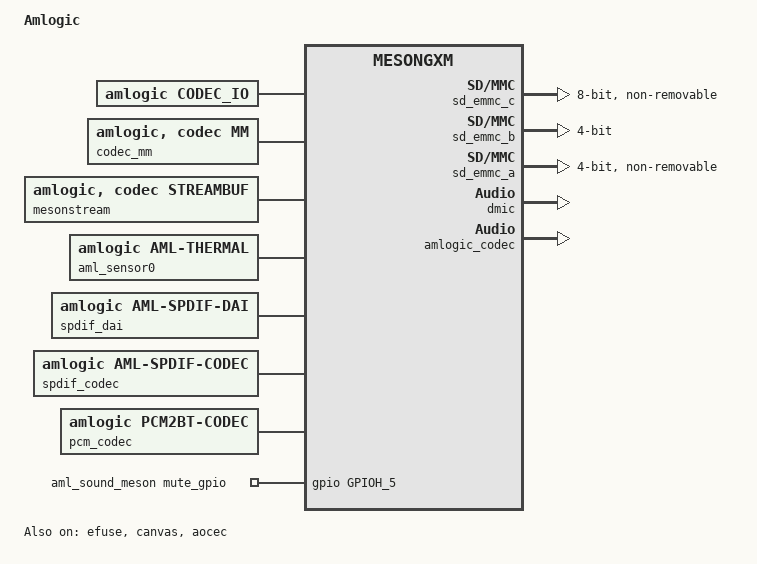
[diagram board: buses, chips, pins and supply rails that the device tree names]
/*
 * arch/arm/boot/dts/amlogic/gxm_skt.dts
 *
 * Copyright (C) 2017 Amlogic, Inc. All rights reserved.
 *
 * This program is free software; you can redistribute it and/or modify
 * it under the terms of the GNU General Public License as published by
 * the Free Software Foundation; either version 2 of the License, or
 * (at your option) any later version.
 *
 * This program is distributed in the hope that it will be useful, but WITHOUT
 * ANY WARRANTY; without even the implied warranty of MERCHANTABILITY or
 * FITNESS FOR A PARTICULAR PURPOSE.  See the GNU General Public License for
 * more details.
 *
 */

/dts-v1/;

#include <dt-bindings/interrupt-controller/arm-gic.h>
#include "mesongxm.dtsi"

/ {
	model = "Amlogic";
	compatible = "amlogic, Gxm";
	interrupt-parent = <&gic>;
	#address-cells = <1>;
	#size-cells = <1>;

	aliases {
		serial0 = &uart_AO;
		serial1 = &uart_A;
		serial2 = &uart_B;
		serial3 = &uart_C;
		serial4 = &uart_AO_B;
	};

	ion_dev {
		compatible = "amlogic, ion_dev";
		memory-region = <&ion_reserved>;
	};

	memory@00000000 {
		device_type = "memory";
		linux,usable-memory = <0x100000 0x3ff00000>;
	};

	reserved-memory {
		#address-cells = <1>;
		#size-cells = <1>;
		ranges;
		/* global autoconfigured region for contiguous allocations */
		ramoops@0x07400000 {
			compatible = "ramoops";
			reg = <0x07400000 0x00100000>;
			record-size = <0x8000>;
			console-size = <0x8000>;
			ftrace-size = <0x20000>;
		};

		secmon_reserved:linux,secmon {
			compatible = "shared-dma-pool";
			reusable;
			size = <0x400000>;
			alignment = <0x400000>;
			alloc-ranges = <0x05000000 0x400000>;
		};
		secos_reserved:linux,secos {
			status = "disable";
			compatible = "amlogic, aml_secos_memory";
			reg = <0x05300000 0x2000000>;
			no-map;
		};
		logo_reserved:linux,meson-fb {
			compatible = "shared-dma-pool";
			reusable;
			size = <0x800000>;
			alignment = <0x400000>;
			alloc-ranges = <0x3f800000 0x800000>;
		};
		//don't put other dts in front of logo_reserved

		//di_reserved:linux,di {
		//	compatible = "amlogic, di-mem";
			/** 10x3133440=30M(0x1e) support 8bit **/
		//	size = <0x1e00000>;
			//no-map;
		//};
		di_cma_reserved:linux,di_cma {
			compatible = "shared-dma-pool";
			reusable;
			/** 10x3133440=30M(0x1e) support 8bit **/
			size = <0x2000000>;
			alignment = <0x400000>;
		};
		ion_reserved:linux,ion-dev {
			compatible = "shared-dma-pool";
			reusable;
			size = <0x7C00000>;
			alignment = <0x400000>;
		};

		/*  vdin0 CMA pool */
		//vdin0_cma_reserved:linux,vdin0_cma {
		//	compatible = "shared-dma-pool";
		//	linux,phandle = <4>;
		//	reusable;
		/* 1920x1080x2x4  =16+4 M */
		//	size = <0x01400000>;
		//	alignment = <0x400000>;
		//};
		/*  vdin1 CMA pool */
		vdin1_cma_reserved:linux,vdin1_cma {
			compatible = "shared-dma-pool";
			reusable;
			/* 1920x1080x2x4  =16 M */
			size = <0x01000000>;
			alignment = <0x400000>;
		};
		/*  POST PROCESS MANAGER */
		ppmgr_reserved:linux,ppmgr {
			compatible = "shared-dma-pool";
			size = <0x0>;
		};

		codec_mm_cma:linux,codec_mm_cma {
			compatible = "shared-dma-pool";
			reusable;
			/* ion_codec_mm max can alloc size 80M*/
			size = <0x13400000>;
			alignment = <0x400000>;
			linux,contiguous-region;
		};
		picdec_cma_reserved:linux,picdec {
			compatible = "shared-dma-pool";
			reusable;
			size = <0x0>;
			alignment = <0x0>;
			linux,contiguous-region;
		};
		/* codec shared reserved */
		codec_mm_reserved:linux,codec_mm_reserved {
			compatible = "amlogic, codec-mm-reserved";
			size = <0x0>;
			alignment = <0x100000>;
			//no-map;
		};
	};

	sd_emmc_c: emmc@d0074000 {
		status = "okay";
		compatible = "amlogic, meson-mmc-gxm";
		reg = <0xd0074000 0x2000>;
		interrupts = <0 218 1>;
		pinctrl-names = "emmc_clk_cmd_pins", "emmc_all_pins";
		pinctrl-0 = <&emmc_clk_cmd_pins>;
		pinctrl-1 = <&emmc_conf_pull_up &emmc_conf_pull_done>;
		clocks = <&clkc CLKID_SD_EMMC_C>,
			   <&clkc CLKID_SD_EMMC_C_P0_COMP>,
			   <&clkc CLKID_FCLK_DIV2>;
		clock-names = "core", "clkin0", "clkin1";

		bus-width = <8>;
		cap-sd-highspeed;
		cap-mmc-highspeed;
		mmc-ddr-1_8v;
		mmc-hs200-1_8v;

		max-frequency = <200000000>;
		non-removable;
		disable-wp;
		emmc {
			pinname = "emmc";
			ocr_avail = <0x200080>; /**VDD voltage 3.3 ~ 3.4 */
			caps = "MMC_CAP_8_BIT_DATA",
				 "MMC_CAP_MMC_HIGHSPEED",
				 "MMC_CAP_SD_HIGHSPEED",
				 "MMC_CAP_NONREMOVABLE",
				 "MMC_CAP_1_8V_DDR",
				 "MMC_CAP_HW_RESET",
				 "MMC_CAP_ERASE",
				 "MMC_CAP_CMD23";
			caps2 = "MMC_CAP2_HS200", "MMC_CAP2_HS400";
			f_min = <400000>;
			f_max = <100000000>;
			max_req_size = <0x20000>; /**128KB*/
			gpio_dat3 = <&gpio BOOT_3 GPIO_ACTIVE_HIGH>;
			hw_reset = <&gpio BOOT_9 GPIO_ACTIVE_HIGH>;
			card_type = <1>;
			/* 1:mmc card(include eMMC),
			 * 2:sd card(include tSD)
			 */
		};
	};

	sd_emmc_b:sd@d0072000 {
		status = "okay";
		compatible = "amlogic, meson-mmc-gxm";
		reg = <0xd0072000 0x2000>;
		interrupts = <0 217 1>;
		pinctrl-names = "sd_all_pins",
			"sd_clk_cmd_pins",
			"sd_1bit_pins",
			"sd_clk_cmd_uart_pins",
			"sd_1bit_uart_pins",
			"sd_to_ao_uart_pins",
			"ao_to_sd_uart_pins",
			"ao_to_sd_jtag_pins",
			"sd_to_ao_jtag_pins";
		pinctrl-0 = <&sd_all_pins>;
		pinctrl-1 = <&sd_clk_cmd_pins>;
		pinctrl-2 = <&sd_1bit_pins>;
		pinctrl-3 = <&sd_to_ao_uart_clr_pins
			&sd_clk_cmd_pins &ao_to_sd_uart_pins>;
		pinctrl-4 = <&sd_to_ao_uart_clr_pins
			&sd_1bit_pins &ao_to_sd_uart_pins>;
		pinctrl-5 = <&sd_all_pins &sd_to_ao_uart_pins>;
		pinctrl-6 = <&sd_to_ao_uart_clr_pins &ao_to_sd_uart_pins>;
		pinctrl-7 = <&sd_to_ao_uart_clr_pins &ao_to_sd_uart_pins>;
		pinctrl-8 = <&sd_all_pins &sd_to_ao_uart_pins>;
		clocks = <&clkc CLKID_SD_EMMC_B>,
			   <&clkc CLKID_SD_EMMC_B_P0_COMP>,
			   <&clkc CLKID_FCLK_DIV2>;
		clock-names = "core", "clkin0", "clkin1";

		bus-width = <4>;
		cap-sd-highspeed;
		max-frequency = <100000000>;
		disable-wp;
		sd {
			pinname = "sd";
			ocr_avail = <0x200080>; /**VDD voltage 3.3 ~ 3.4 */
			caps = "MMC_CAP_4_BIT_DATA",
				 "MMC_CAP_MMC_HIGHSPEED",
				 "MMC_CAP_SD_HIGHSPEED";
			/* "MMC_CAP_UHS_SDR12",
			 * "MMC_CAP_UHS_SDR25",
			 * "MMC_CAP_UHS_SDR50",
			 * "MMC_CAP_UHS_SDR104";
			 */
			f_min = <400000>;
			f_max = <100000000>;
			max_req_size = <0x20000>; /**128KB*/
			gpio_dat3 = <&gpio CARD_4 GPIO_ACTIVE_HIGH>;
			jtag_pin = <&gpio CARD_0 GPIO_ACTIVE_HIGH>;
			gpio_cd = <&gpio CARD_6 GPIO_ACTIVE_HIGH>;
			card_type = <5>;
			/* 0:unknown,
			 * 1:mmc card(include eMMC),
			 * 2:sd card(include tSD),
			 * 3:sdio device(ie:sdio-wifi),
			 * 4:SD combo (IO+mem) card,
			 * 5:NON sdio device(means sd/mmc card),
			 * other:reserved
			 */
		};
	};

	sd_emmc_a:sdio@d0070000 {
		status = "okay";
		compatible = "amlogic, meson-mmc-gxm";
		reg = <0xd0070000 0x2000>;
		interrupts = <0 216 4>;
		pinctrl-names = "sdio_clk_cmd_pins", "sdio_all_pins";
		pinctrl-0 = <&sdio_clk_cmd_pins>;
		pinctrl-1 = <&sdio_all_pins>;
		clocks = <&clkc CLKID_SD_EMMC_A>,
			   <&clkc CLKID_SD_EMMC_A_P0_COMP>,
			   <&clkc CLKID_FCLK_DIV2>;
		clock-names = "core", "clkin0", "clkin1";

		bus-width = <4>;
		cap-sd-highspeed;
		cap-mmc-highspeed;
		max-frequency = <100000000>;
		non-removable;
		disable-wp;
		sdio {
			pinname = "sdio";
			ocr_avail = <0x200080>; /**VDD voltage 3.3 ~ 3.4 */
			caps = "MMC_CAP_4_BIT_DATA",
				 "MMC_CAP_MMC_HIGHSPEED",
				 "MMC_CAP_SD_HIGHSPEED",
				 "MMC_CAP_NONREMOVABLE",
				 "MMC_CAP_UHS_SDR12",
				 "MMC_CAP_UHS_SDR25",
				 "MMC_CAP_UHS_SDR50",
				 "MMC_CAP_UHS_SDR104",
				 "MMC_PM_KEEP_POWER",
				 "MMC_CAP_SDIO_IRQ";
			f_min = <400000>;
			f_max = <200000000>;
			max_req_size = <0x20000>; /**128KB*/
			card_type = <3>;
			/* 3:sdio device(ie:sdio-wifi),
			 * 4:SD combo (IO+mem) card
			 */
		};
	};
	mtd_nand{
		compatible = "amlogic, aml_mtd_nand";
		dev_name = "mtdnand";
		status = "disabled";
		reg = <0xd0074800 0x200>;
		interrupts = <	0 34 1 >;
		pinctrl-names = "nand_rb_mod","nand_norb_mod", "nand_cs_only";
		pinctrl-0 = <&all_nand_pins>;
		pinctrl-1 = <&all_nand_pins>;
		pinctrl-2 = <&nand_cs_pins>;
		device_id = <0>;
		plat-names = "bootloader","nandnormal";
		plat-num = <2>;
		plat-part-0 = <&bootloader>;
		plat-part-1 = <&nandnormal>;
		bootloader: bootloader{
			enable_pad ="ce0";
			busy_pad = "rb0";
			timming_mode = "mode5";
			bch_mode = "bch60_1k";
			t_rea = <20>;
			t_rhoh = <15>;
			chip_num = <1>;
			part_num = <0>;
			rb_detect = <1>;
		};
		nandnormal: nandnormal{
			enable_pad ="ce0","ce1";
			busy_pad = "rb0","rb1";
			timming_mode = "mode5";
			bch_mode = "bch60_1k";
			plane_mode = "twoplane";
			t_rea = <20>;
			t_rhoh = <15>;
			chip_num = <2>;
			part_num = <3>;
			partition = <&nand_partitions>;
			rb_detect = <1>;
		};
		nand_partitions:nand_partition{
			logo{
				offset=<0x0 0x0>;
				size=<0x0 0x200000>;
			};
			recovery{
				offset=<0x0 0x0>;
				size=<0x0 0x1000000>;
			};
			boot{
				offset=<0x0 0x0>;
				size=<0x0 0xC00000>;
			};
			system{
				offset=<0x0 0x0>;
				size=<0x0 0xDC40000>;
			};
			data{
				offset=<0xffffffff 0xffffffff>;
				size=<0x0 0x0>;
			};
		};
	};

	codec_io {
		compatible = "amlogic, codec_io";
		#address-cells=<1>;
		#size-cells=<1>;
		ranges;
		io_cbus_base{
			reg = <0xC1100000 0x100000>;
		};
		io_dos_base{
			reg = <0xc8820000 0x10000>;
		};
		io_hiubus_base{
			reg = <0xc883c000 0x2000>;
		};
		io_aobus_base{
			reg = <0xc8100000 0x100000>;
		};
		io_vcbus_base{
			reg = <0xd0100000 0x40000>;
		};
		io_dmc_base{
			reg = <0xc8838000 0x400>;
		};
	};

	codec_mm {
		compatible = "amlogic, codec, mm";
		memory-region = <&codec_mm_cma &codec_mm_reserved>;
		dev_name = "codec_mm";
		status = "okay";
	};

	canvas{
		compatible = "amlogic, meson, canvas";
		dev_name = "amlogic-canvas";
		status = "ok";
		reg = <0xc8838000 0x400>;
	};

	mesonstream {
		compatible = "amlogic, codec, streambuf";
		dev_name = "mesonstream";
		status = "okay";
		clocks = <&clkc CLKID_DOS_PARSER
			&clkc CLKID_DEMUX
			&clkc CLKID_DOS
			&clkc CLKID_VDEC_MUX
			&clkc CLKID_HCODEC_MUX
			&clkc CLKID_HEVC_MUX>;
		clock-names = "parser_top",
			"demux",
			"vdec",
			"clk_vdec_mux",
			"clk_hcodec_mux",
			"clk_hevc_mux";
	};

	vdec {
		compatible = "amlogic, vdec";
		dev_name = "vdec.0";
		status = "okay";
		interrupts = <0 3 1
			0 23 1
			0 32 1
			0 43 1
			0 44 1
			0 45 1>;
		interrupt-names = "vsync",
			"demux",
			"parser",
			"mailbox_0",
			"mailbox_1",
			"mailbox_2";
	};

	aml_sensor0: aml-sensor@0 {
		compatible = "amlogic, aml-thermal";
		device_name = "thermal";
		#thermal-sensor-cells = <1>;
		cooling_devices {
			cpufreq_cool_cluster0 {
				min_state = <1000000>;
				dyn_coeff = <140>;
				cluster_id = <0>;
				node_name = "cpufreq_cool0";
				device_type = "cpufreq";
			};
			cpufreq_cool_cluster1 {
				min_state = <500000>;
				dyn_coeff = <140>;
				cluster_id = <1>;
				node_name = "cpufreq_cool1";
				device_type = "cpufreq";
			};
			cpucore_cool_cluster0 {
				min_state = <1>;
				dyn_coeff = <0>;
				cluster_id = <0>;
				node_name = "cpucore_cool0";
				device_type = "cpucore";
			};
			cpucore_cool_cluster1 {
				min_state = <1>;
				dyn_coeff = <0>;
				cluster_id = <1>;
				node_name = "cpucore_cool1";
				device_type = "cpucore";
			};
			gpufreq_cool {
				min_state = <400>;
				dyn_coeff = <437>;
				cluster_id = <0>;
				node_name = "gpufreq_cool0";
				device_type = "gpufreq";
			};
			gpucore_cool {
				min_state = <1>;
				dyn_coeff = <0>;
				cluster_id = <0>;
				node_name = "gpucore_cool0";
				device_type = "gpucore";
			};
		};
		cpufreq_cool0:cpufreq_cool0 {
			#cooling-cells = <2>; /* min followed by max */
		};
		cpufreq_cool1:cpufreq_cool1 {
			#cooling-cells = <2>; /* min followed by max */
		};
		cpucore_cool0:cpucore_cool0 {
			#cooling-cells = <2>; /* min followed by max */
		};
		cpucore_cool1:cpucore_cool1 {
			#cooling-cells = <2>; /* min followed by max */
		};
		gpufreq_cool0:gpufreq_cool0 {
			#cooling-cells = <2>; /* min followed by max */
		};
		gpucore_cool0:gpucore_cool0 {
			#cooling-cells = <2>; /* min followed by max */
		};
	};
	thermal-zones {
		soc_thermal {
			polling-delay = <1000>;
			polling-delay-passive = <100>;
			sustainable-power = <2450>;

			thermal-sensors = <&aml_sensor0 3>;

			trips {
				switch_on: trip-point@0 {
					temperature = <70000>;
					hysteresis = <1000>;
					type = "passive";
				};
				control: trip-point@1 {
					temperature = <80000>;
					hysteresis = <1000>;
					type = "passive";
				};
				hot: trip-point@2 {
					temperature = <85000>;
					hysteresis = <5000>;
					type = "hot";
				};
				critical: trip-point@3 {
					temperature = <260000>;
					hysteresis = <1000>;
					type = "critical";
				};
			};

			cooling-maps {
				cpufreq_cooling_map0 {
					trip = <&control>;
					cooling-device = <&cpufreq_cool0 0 4>;
					contribution = <1024>;
				};
				cpufreq_cooling_map1 {
					trip = <&control>;
					cooling-device = <&cpufreq_cool1 0 4>;
					contribution = <1024>;
				};
				cpucore_cooling_map0 {
					trip = <&control>;
					cooling-device = <&cpucore_cool0 0 3>;
					contribution = <1024>;
				};
				cpucore_cooling_map1 {
					trip = <&control>;
					cooling-device = <&cpucore_cool1 0 3>;
					contribution = <1024>;
				};
				gpufreq_cooling_map {
					trip = <&control>;
					cooling-device = <&gpufreq_cool0 0 4>;
					contribution = <1024>;
				};
				gpucore_cooling_map {
					trip = <&control>;
					cooling-device = <&gpucore_cool0 0 2>;
					contribution = <1024>;
				};
			};
		};
	};

	meson-amvideom {
		compatible = "amlogic, amvideom";
		dev_name = "amvideom";
		status = "okay";
		interrupts = <0 3 1>;
		interrupt-names = "vsync";
	};

	vout {
		compatible = "amlogic, vout";
		dev_name = "vout";
		status = "okay";
		fr_auto_policy = <0>;
	};

	cvbsout {
		compatible = "amlogic, cvbsout-gxm";
		dev_name = "cvbsout";
		status = "okay";
		clocks = <&clkc CLKID_VCLK2_ENCI
			&clkc CLKID_VCLK2_VENCI0
			&clkc CLKID_VCLK2_VENCI1
			&clkc CLKID_DAC_CLK>;
		clock-names = "venci_top_gate",
			"venci_0_gate",
			"venci_1_gate",
			"vdac_clk_gate";

		/* performance: reg_address, reg_value */
		performance = <0x1bf0  0x9
			0x1b56  0x343
			0x1b12  0x8080
			0x1b05  0xfd
			0x1c59  0xf752
			0xffff  0x0>; /* ending flag */
	};

	amhdmitx: amhdmitx{
		compatible = "amlogic, amhdmitx";
		dev_name = "amhdmitx";
		status = "okay";
		vend-data = <&vend_data>;
		pinctrl-names="hdmitx_hpd", "hdmitx_ddc";
		pinctrl-0=<&hdmitx_hpd>;
		pinctrl-1=<&hdmitx_ddc>;
		/* HPD, 57 + 32 = 89; CEC, 151 + 32 = 183*/
		interrupts = <0 57 1>;
		interrupt-names = "hdmitx_hpd";
		vend_data: vend_data{ /* Should modified by Customer */
			vendor_name = "Amlogic"; /* Max Chars: 8 */
			/* standards.ieee.org/develop/regauth/oui/oui.txt */
			vendor_id = <0x000000>;
			product_desc = "MBox Meson Ref"; /* Max Chars: 16 */
		};
	};

	aocec: aocec{
		compatible = "amlogic, amlogic-aocec";
		device_name = "aocec";
		status = "okay";
		vendor_id = <0x000000>;
		cec_osd_string = "MBox"; /* Max Chars: 14    */
		cec_version = <6>; /* 5: 1.4, 6: 2.0 */
		port_num = <1>;
		arc_port_mask = <0x0>;
		interrupts = <0 199 1>;
		interrupt-names = "hdmi_aocec";
		pinctrl-names = "default";
		pinctrl-0=<&hdmitx_aocec>;
		reg = <0xc810023c 0x4
		       0xc8100000 0x200>;
		reg-names = "ao_exit","ao";
	};

	meson-fb {
		compatible = "amlogic, meson-gxm";
		memory-region = <&logo_reserved>;
		dev_name = "meson-fb";
		status = "okay";
		interrupts = <0 3 1
			0 89 1>;
		interrupt-names = "viu-vsync", "rdma";
		mem_size = <0x00800000 0x01851000 0x00100000>;
		/* uboot logo,fb0/fb1 memory size,if afbcd fb0=0x01851000*/
		display_mode_default = "1080p60hz";
		scale_mode = <1>;
		/** 0:VPU free scale 1:OSD free scale 2:OSD super scale */
		display_size_default = <1920 1080 1920 3240 32>;
		/*1920*1080*4*3 = 0x17BB000*/
		logo_addr = "0x3f800000";
	};
	ge2d {
		compatible = "amlogic, ge2d-gxm";
		dev_name = "ge2d";
		status = "okay";
		interrupts = <0 150 1>;
		interrupt-names = "ge2d";
		clocks = <&clkc CLKID_VAPB_MUX>,
			<&clkc CLKID_G2D>,
			<&clkc CLKID_GE2D_GATE>;
		clock-names = "clk_vapb_0",
			"clk_ge2d",
			"clk_ge2d_gate";
	};


	/* AUDIO MESON DEVICES */
	i2s_dai: I2S {
		#sound-dai-cells = <0>;
		compatible = "amlogic, aml-i2s-dai";
		clocks =
			<&clkc CLKID_MPLL2>,
			<&clkc CLKID_AMCLK_COMP>,
			<&clkc CLKID_AIU_GLUE>,
			<&clkc CLKID_IEC958>,
			<&clkc CLKID_I2S_OUT>,
			<&clkc CLKID_AMCLK>,
			<&clkc CLKID_AIFIFO2>,
			<&clkc CLKID_MIXER>,
			<&clkc CLKID_MIXER_IFACE>,
			<&clkc CLKID_ADC>,
			<&clkc CLKID_AIU_TOP>,
			<&clkc CLKID_AOCLK_GATE>,
			<&clkc CLKID_I2S_SPDIF>;
		clock-names =
			"mpll",
			"mclk",
			"top_glue",
			"aud_buf",
			"i2s_out",
			"amclk_measure",
			"aififo2",
			"aud_mixer",
			"mixer_reg",
			"adc",
			"top_level",
			"aoclk",
			"aud_in";
		i2s_pos_sync = <0>;
		/*DMIC;*/  /* I2s Mic or Dmic, default for I2S mic */
	};
	dmic:snd_dmic {
		#sound-dai-cells = <0>;
		compatible = "aml, aml_snd_dmic";
		reg = <0xd0042000 0x2000>;
		status = "okay";
		resets = <
			&clkc CLKID_PDM_GATE
		>;
		reset-names =	"pdm";
		pinctrl-names = "audio_dmic";
		pinctrl-0 = <&aml_dmic_pins>;
		clocks = <&clkc CLKID_PDM_COMP>,
			<&clkc CLKID_AMCLK_COMP>;
		clock-names = "pdm", "mclk";
	};
	spdif_dai: SPDIF {
		#sound-dai-cells = <0>;
		compatible = "amlogic, aml-spdif-dai";
		clocks =
			<&clkc CLKID_MPLL1>,
			<&clkc CLKID_I958_COMP>,
			<&clkc CLKID_AMCLK_COMP>,
			<&clkc CLKID_I958_COMP_SPDIF>,
			<&clkc CLKID_CLK81>,
			<&clkc CLKID_IEC958>,
			<&clkc CLKID_IEC958_GATE>;
		clock-names =
			"mpll1",
			"i958",
			"mclk",
			"spdif",
			"clk_81",
			"iec958",
			"iec958_amclk";
	};
	pcm_dai: PCM {
		#sound-dai-cells = <0>;
		compatible = "amlogic, aml-pcm-dai";
		pinctrl-names = "audio_pcm";
		pinctrl-0 = <&audio_pcm_pins>;
		clocks =
			<&clkc CLKID_MPLL0>,
			<&clkc CLKID_PCM_MCLK_COMP>,
			<&clkc CLKID_PCM_SCLK_GATE>;
		clock-names =
			"mpll0",
			"pcm_mclk",
			"pcm_sclk";
		pcm_mode = <1>; /* 0=slave mode, 1=master mode */
	};
	i2s_plat: i2s_platform {
		compatible = "amlogic, aml-i2s";
		interrupts = <0 29 1>;
	};
	pcm_plat: pcm_platform {
		compatible = "amlogic, aml-pcm";
	};
	spdif_codec: spdif_codec{
		#sound-dai-cells = <0>;
		compatible = "amlogic, aml-spdif-codec";
		pinctrl-names = "audio_spdif";
		pinctrl-0 = <&audio_spdif_pins>;
	};
	pcm_codec: pcm_codec{
		#sound-dai-cells = <0>;
		compatible = "amlogic, pcm2BT-codec";
	};
	/* endof AUDIO MESON DEVICES */

	/* AUDIO board specific */
	dummy_codec:dummy{
		#sound-dai-cells = <0>;
		compatible = "amlogic, aml_dummy_codec";
		status = "disable";
	};
	amlogic_codec:t9015{
		#sound-dai-cells = <0>;
		compatible = "amlogic, aml_codec_T9015";
		reg = <0xc8832000 0x14>;
		status = "okay";
	};
	aml_sound_meson {
		compatible = "aml, meson-snd-card";
		status = "okay";
		aml-sound-card,format = "i2s";
		aml_sound_card,name = "AML-MESONAUDIO";
		aml,audio-routing =
				"Ext Spk","LOUTL",
				"Ext Spk","LOUTR";

		mute_gpio-gpios = <&gpio GPIOH_5 0>;
		mute_inv;
		hp_disable;
		hp_paraments = <800 300 0 5 1>;
		pinctrl-names = "audio_i2s";
		pinctrl-0 = <&audio_i2s_pins>;
		cpu_list = <&cpudai0 &cpudai1 &cpudai2>;
		codec_list = <&codec0 &codec1 &codec2>;
		plat_list = <&i2s_plat &i2s_plat &pcm_plat>;
		cpudai0: cpudai0 {
			sound-dai = <&i2s_dai>;
		};
		cpudai1: cpudai1 {
			sound-dai = <&spdif_dai>;
		};
		cpudai2: cpudai2 {
			sound-dai = <&pcm_dai>;
		};
		codec0: codec0 {
			sound-dai = <&amlogic_codec>;
		};
		codec1: codec1 {
			sound-dai = <&spdif_codec>;
		};
		codec2: codec2 {
			sound-dai = <&pcm_codec>;
		};
	};
	/* END OF AUDIO board specific */

	rdma{
		compatible = "amlogic, meson, rdma";
		dev_name = "amlogic-rdma";
		status = "ok";
		interrupts = <0 89 1>;
		interrupt-names = "rdma";
	};

	picdec {
		compatible = "amlogic, picdec";
		memory-region = <&picdec_cma_reserved>;
		dev_name = "picdec";
		status = "okay";
	};

	ppmgr {
		compatible = "amlogic, ppmgr";
		memory-region = <&ppmgr_reserved>;
		dev_name = "ppmgr";
		status = "okay";
	};

	ionvideo {
		compatible = "amlogic, ionvideo";
		dev_name = "ionvideo";
		status = "okay";
	};

	amlvideo {
		compatible = "amlogic, amlvideo";
		dev_name = "amlvideo";
		status = "okay";
	};

	amlvideo2_0 {
		compatible = "amlogic, amlvideo2";
		dev_name = "amlvideo2";
		status = "okay";
		amlvideo2_id = <0>;
		cma_mode = <1>;
	};

	amlvideo2_1 {
		compatible = "amlogic, amlvideo2";
		dev_name = "amlvideo2";
		status = "okay";
		amlvideo2_id = <1>;
		cma_mode = <1>;
	};

	/*if you want to use vdin just modify status to "ok"*/
	vdin0 {
		compatible = "amlogic, vdin";
		/*memory-region = <&vdin0_cma_reserved>;*/
		dev_name = "vdin0";
		status = "ok";
		reserve-iomap = "true";
		flag_cma = <1>;/*1:share with codec_mm;2:cma alone*/
		/*MByte, if 10bit disable: 64M(YUV422),
		 *if 10bit enable: 64*1.5 = 96M(YUV422)
		 *if support 4K2K-YUV444-10bit-WR:3840*2160*4*4 ~= 128M
		 *if support 4K2K-YUV422-10bit-wr:3840*2160*3*4 ~= 96M
		 *if support 4K2K-YUV422-8BIT-WR:3840*2160*2*4 ~= 64M
		 *if support 1080p-YUV422-8BIT-WR:1920*1080*2*4 ~= 16M
		 */
		cma_size = <16>;
		interrupts = <0 83 1>;
		rdma-irq = <2>;
		/*clocks = <&clock CLK_FPLL_DIV5>,
		 *	<&clock CLK_VDIN_MEAS_CLK>;
		 *clock-names = "fclk_div5", "cts_vdin_meas_clk";
		 */
		vdin_id = <0>;
		/*vdin write mem color depth support:
		 *bit0:support 8bit
		 *bit1:support 9bit
		 *bit2:support 10bit
		 *bit3:support 12bit
		 *bit4:support yuv422 10bit full pack mode (from txl new add)
		 */
		tv_bit_mode = <1>;
	};
	vdin1 {
		compatible = "amlogic, vdin";
		memory-region = <&vdin1_cma_reserved>;
		dev_name = "vdin1";
		status = "ok";
		reserve-iomap = "true";
		flag_cma = <0>;/*1:share with codec_mm;0:cma alone*/
		interrupts = <0 85 1>;
		rdma-irq = <4>;
		/*clocks = <&clock CLK_FPLL_DIV5>,
		 *	<&clock CLK_VDIN_MEAS_CLK>;
		 *clock-names = "fclk_div5", "cts_vdin_meas_clk";
		 */
		vdin_id = <1>;
		/*vdin write mem color depth support:
		 *bit0:support 8bit
		 *bit1:support 9bit
		 *bit2:support 10bit
		 *bit3:support 12bit
		 */
		tv_bit_mode = <1>;
	};

	amlvecm {
		compatible = "amlogic, vecm";
		dev_name = "aml_vecm";
		status = "okay";
		gamma_en = <0>;/*1:enabel ;0:disable*/
		wb_en = <0>;/*1:enabel ;0:disable*/
		cm_en = <0>;/*1:enabel ;0:disable*/
		/*1:enabel osd lut 100 table;0:disable*/
		cfg_en_osd_100 = <1>;
		 /*0: 709/601  1: bt2020*/
		tx_op_color_primary = <0>;
	};
	amdolby_vision {
		compatible = "amlogic, dolby_vision_gxm";
		dev_name = "aml_amdolby_vision_driver";
		status = "okay";
		tv_mode = <0>;/*1:enabel ;0:disable*/
	};
	partitions: partitions{
		parts = <11>;
		part-0 = <&logo>;
		part-1 = <&recovery>;
		part-2 = <&rsv>;
		part-3 = <&tee>;
		part-4 = <&crypt>;
		part-5 = <&misc>;
		part-6 = <&instaboot>;
		part-7 = <&boot>;
		part-8 = <&system>;
		part-9 = <&cache>;
		part-10 = <&data>;

		logo:logo{
			pname = "logo";
			size = <0x0 0x2000000>;
			mask = <1>;
		};
		recovery:recovery{
			pname = "recovery";
			size = <0x0 0x2000000>;
			mask = <1>;
		};
		rsv:rsv{
			pname = "rsv";
			size = <0x0 0x800000>;
			mask = <1>;
		};
		tee:tee{
			pname = "tee";
			size = <0x0 0x800000>;
			mask = <1>;
		};
		crypt:crypt{
			pname = "crypt";
			size = <0x0 0x2000000>;
			mask = <1>;
		};
		misc:misc{
			pname = "misc";
			size = <0x0 0x2000000>;
			mask = <1>;
		};
		instaboot:instaboot{
			pname = "instaboot";
			size = <0x0 0x400000>;
			mask = <1>;
		};
		boot:boot
		{
			pname = "boot";
			size = <0x0 0x2000000>;
			mask = <1>;
		};
		system:system
		{
			pname = "system";
			size = <0x0 0x80000000>;
			mask = <1>;
		};
		cache:cache
		{
			pname = "cache";
			size = <0x0 0x20000000>;
			mask = <2>;
		};
		data:data
		{
			pname = "data";
			size = <0xffffffff 0xffffffff>;
			mask = <4>;
		};
	};

	deinterlace {
		compatible = "amlogic, deinterlace";
		status = "okay";
		flag_cma = <1>;/*0:use reserved;1:use cma*/
		//memory-region = <&di_reserved>;
		memory-region = <&di_cma_reserved>;
		interrupts = <0 46 1 0 6 1>;
		interrupt-names = "de_irq",	"timerc";
		/*
		 * nr_size(byte) = 1920*544*2(yuv422 8bit) |
		 * 1920*544*2*12/8(yuv422 10bit)
		 * | 1920*544*2*10/8(yuv422 10bit full pack mode)
		 */
		/* mtn_size(byte) = 1920*544/2 */
		/* count_size(byte) = 1920*544/2 */
		buffer-size = <3133440>;
		hw-version = <2>;
	};

};
&efuse {
	status = "ok";
};
